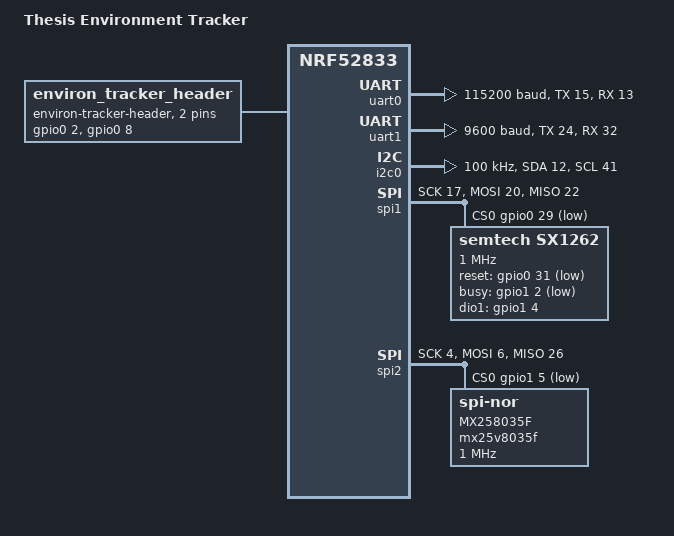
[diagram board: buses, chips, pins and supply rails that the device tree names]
/dts-v1/;
#include <nordic/nrf52833_qiaa.dtsi>

/ {
    model = "Thesis Environment Tracker";
    compatible = "nordic,environ-tracker-rev1";

    chosen {
        zephyr,console = &uart0;
        zephyr,shell-uart = &uart0;
        zephyr,sram = &sram0;
        zephyr,flash = &flash0;
        zephyr,code-partition = &flash0;
    };

    /* Aliases provided for compatibility with samples */
    aliases {
        lora0 = &lora;
    };

    connections {
        bat_chrg: bat_chrg_0 {
            gpios = <&gpio0 19 GPIO_ACTIVE_LOW>;
            label = "BatteryChargingState";
        };
    };

    environ_tracker_header: connector {
        compatible = "environ-tracker-header";
        #gpio-cells = <2>;
        gpio-map-mask = <0xffffffff 0xffffffc0>;
        gpio-map-pass-thru = <0 0x3f>;
        gpio-map =  <0 0 &gpio0 2 0>,
                    <1 0 &gpio0 8 0>;
    };
};

&gpiote {
    status = "okay";
};

&gpio0 {
    status = "okay";
};

&gpio1 {
    status = "okay";
};

&uart0 {
    compatible = "nordic,nrf-uarte";
    status = "okay";
    current-speed = <115200>;
    tx-pin = <15>;
    rx-pin = <13>;
};

/* uart for zoe-m8q */
&uart1 {
    compatible = "nordic,nrf-uarte";
    status = "okay";
    current-speed = <9600>;
    tx-pin = <24>;
    rx-pin = <32>;
//     // zoem8q: zoem8q@0 { /* TODO: port this */
//     //     reg = <0>;
//     //     label = "ZOE-M8Q";
//     //     tx-ready-gpios = <&gpio0 9 GPIO_ACTIVE_LOW>;
//     //     reset-gpios = <&gpio1 6 GPIO_ACTIVE_LOW>;
//     //     exti-gpios = <&gpio0 10 GPIO_ACTIVE_LOW>;
//     // }
};

shieldi2c: &i2c0 {
    compatible = "nordic,nrf-twim";
    status = "okay";
    clock-frequency = <I2C_BITRATE_STANDARD>;
    sda-pin = <12>;
    scl-pin = <41>;
};

/* LORA spi */
&spi1 {
    compatible = "nordic,nrf-spim";
    status = "okay";
    sck-pin = <17>;
    mosi-pin = <20>;
    miso-pin = <22>;
    cs-gpios = <&gpio0 29 GPIO_ACTIVE_LOW>;
    lora: sx1262@0 {
        compatible = "semtech,sx1262";
        reg = <0>;
        label = "SX1262";
        reset-gpios = <&gpio0 31 GPIO_ACTIVE_LOW>;
        busy-gpios = <&gpio1 2 GPIO_ACTIVE_LOW>;
        dio1-gpios = <&gpio1 4 GPIO_ACTIVE_HIGH>;
        spi-max-frequency = <1000000>;
    };
};

/* external flash SPI */
&spi2 {
    compatible = "nordic,nrf-spim";
    status = "okay";
    sck-pin = <4>;
    mosi-pin = <6>;
    miso-pin = <26>;
    cs-gpios = <&gpio1 5 GPIO_ACTIVE_LOW>;
    mx25v8035f: mx25v8035f@0 {
        compatible = "jedec,spi-nor";
        reg = <0>;
        spi-max-frequency = <1000000>;
        label = "MX258035F";
        jedec-id = [c2 23 14];
        size = <8338608>;
    };
};

&flash0 {
    partitions {
        compatible = "fixed-partitions";
        #address-cells = <1>;
        #size-cells = <1>;

        /*
            * The flash starting at 0x0007a000 and ending at
            * 0x0007ffff (sectors 122-127) is reserved for use
            * by the application.
            * Storage partition will be used by FCB/LittleFS/NVS
            * if enabled.
            */
        storage_partition: partition@7a000 {
            label = "storage";
            reg = <0x0007a000 0x00006000>;
        };
    };
};

